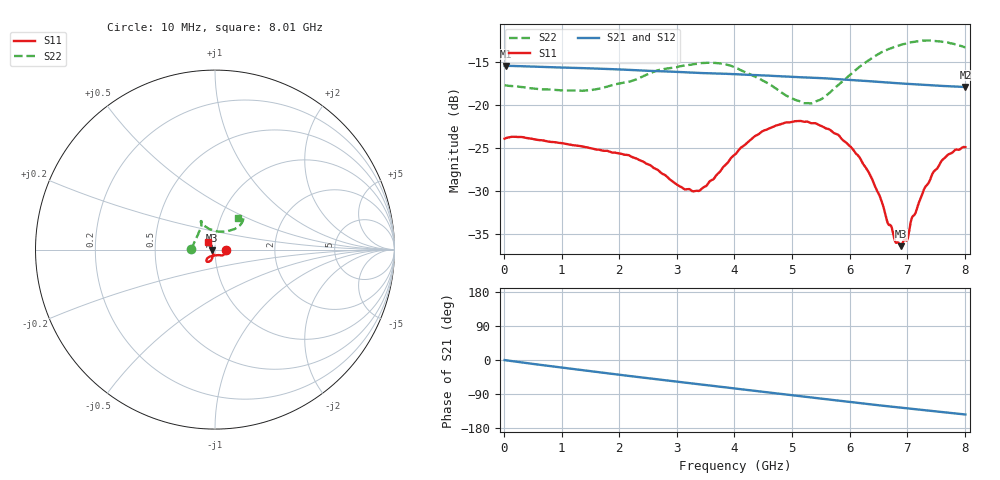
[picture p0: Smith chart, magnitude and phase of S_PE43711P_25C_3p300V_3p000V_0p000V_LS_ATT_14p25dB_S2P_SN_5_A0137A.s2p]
! Device ID: PE43711P
! File Path: z:\PE43711P\CHAR_NOM_04282014\AMB\3p300\LS_ATT_14p25dB\PE43711P_AMB_3p300V_3p000V_0p000V_LS_ATT_14p25dB_S2P_SN_5_A0137A.s2p
! Serial: 5
! Lot: A0137A
! Temp: 25C
! VDD: 3.300
! VSS: 0.000
! Control_Hi: 3.000
! Control_Lo: 0.000
! Attenuation Step: 14.25dB
! Port 1: RF1
! Port 2: RF2
! ThroughPath:1-2
! IDD: 0.0001278912
! ISS: -3.74e-008
#  Hz  S  RI  R  50
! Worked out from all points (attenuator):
!   801 points, 10 MHz to 8.01 GHz, reference 50 ohm
!   highest |S21| = -15.40 dB at 40 MHz (marker M1); lowest = -17.9 dB at 8.01 GHz (marker M2)
!   lowest |S11| = -36.4 dB at 6.89 GHz (marker M3), VSWR 1.03, Z = 48.5 - j0.342 ohm
!   |S11| at or under -10 dB: start of sweep to end of sweep
!   |S22| runs from -19.8 to -12.4 dB; largest |S21 - S12| = 0.00039
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1e7  0.064 8.62e-05  0.1698 -0.000767  0.17 -0.000815  -0.1311 0.000951
4e7  0.0646 -0.000464  0.1698 -0.00255  0.1699 -0.00257  -0.1304 0.00269
1.35e9  0.0504 -0.0281  0.1474 -0.0737  0.1475 -0.0738  -0.1053 0.0608
2.16e9  0.0394 -0.0329  0.1198 -0.1075  0.12 -0.1074  -0.0831 0.1089
2.68e9  0.0278 -0.0312  0.0989 -0.1234  0.0989 -0.1234  -0.076 0.1411
3.11e9  0.0118 -0.0307  0.08 -0.1339  0.08 -0.134  -0.0747 0.1526
3.37e9  0.000108 -0.0318  0.0684 -0.1386  0.0684 -0.1387  -0.0753 0.158
4.01e9  -0.0318 -0.0408  0.0387 -0.1468  0.0386 -0.1469  -0.077 0.1474
4.68e9  -0.0477 -0.0583  0.00714 -0.1481  0.00708 -0.1482  -0.042 0.1209
5.04e9  -0.0459 -0.0664  -0.00914 -0.1461  -0.00928 -0.1461  -0.00995 0.1078
5.35e9  -0.0395 -0.068  -0.0229 -0.143  -0.0229 -0.1432  0.0238 0.1001
5.79e9  -0.0255 -0.0627  -0.0416 -0.136  -0.0417 -0.136  0.0772 0.1048
6.16e9  -0.0158 -0.0478  -0.0558 -0.128  -0.0559 -0.128  0.1167 0.1187
6.38e9  -0.0122 -0.0359  -0.0635 -0.1225  -0.0636 -0.1227  0.1348 0.1307
6.68e9  -0.0124 -0.0159  -0.0726 -0.1146  -0.0725 -0.1147  0.1502 0.1509
6.8e9  -0.0132 -0.0089  -0.076 -0.1112  -0.0759 -0.1113  0.1538 0.1582
6.89e9  -0.0147 -0.00353  -0.0784 -0.1088  -0.0784 -0.1089  0.1559 0.1629
7e9  -0.0161 0.00318  -0.0813 -0.1058  -0.0813 -0.1058  0.1571 0.1684
7.09e9  -0.0206 0.00891  -0.0838 -0.1032  -0.0837 -0.1033  0.1563 0.1733
7.46e9  -0.0304 0.0277  -0.0925 -0.0923  -0.0926 -0.0923  0.1471 0.1864
7.69e9  -0.0368 0.0352  -0.0972 -0.0853  -0.0972 -0.0852  0.1372 0.1878
8.01e9  -0.041 0.0398  -0.1032 -0.0756  -0.1034 -0.0753  0.1259 0.1769
